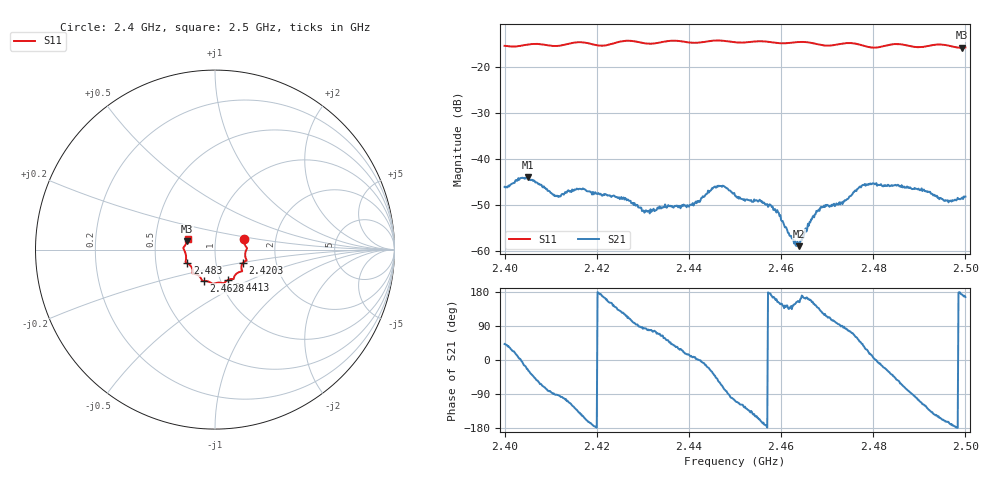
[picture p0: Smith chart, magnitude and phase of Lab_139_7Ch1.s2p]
# Hz S RI R 50
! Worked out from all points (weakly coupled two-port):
!   601 points, 2.4 GHz to 2.5 GHz, reference 50 ohm
!   highest |S21| = -43.82 dB at 2.405 GHz (marker M1); lowest = -58.8 dB at 2.4638 GHz (marker M2)
!   lowest |S11| = -15.8 dB at 2.4992 GHz (marker M3), VSWR 1.39, Z = 36.4 + j3.55 ohm
!   |S11| at or under -10 dB: start of sweep to end of sweep
!   S12 and S22 are empty: the file has one direction only
!   S11 on the Smith chart (normalised r, x): 2.4 GHz: 1.37, +0.16; 2.4203 GHz: 1.35, -0.21; 2.4413 GHz: 1.09, -0.38; 2.4628 GHz: 0.83, -0.30; 2.483 GHz: 0.72, -0.11; 2.5 GHz: 0.73, +0.09
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2.4e9  0.1608 0.0568  0.00372 0.00337  0 0  0 0
2.405e9  0.1755 0.0131  0.00587 -0.00264  0 0  0 0
2.411333e9  0.168 -0.0245  -0.000103 -0.00403  0 0  0 0
2.416667e9  0.176 -0.0615  -0.00381 -0.00282  0 0  0 0
2.420333e9  0.1552 -0.074  -0.00431 0.000194  0 0  0 0
2.426333e9  0.1517 -0.1199  -0.00165 0.00333  0 0  0 0
2.430333e9  0.1297 -0.1275  0.000302 0.00262  0 0  0 0
2.433333e9  0.108 -0.1484  0.00104 0.00282  0 0  0 0
2.441333e9  0.0743 -0.1682  0.00337 0.000448  0 0  0 0
2.446e9  0.0496 -0.1882  0.00334 -0.00368  0 0  0 0
2.45e9  0.0294 -0.184  -0.00118 -0.00386  0 0  0 0
2.458e9  -0.0229 -0.1848  -0.00298 0.00059  0 0  0 0
2.462833e9  -0.0629 -0.1745  -0.00102 0.000665  0 0  0 0
2.463833e9  -0.068 -0.1747  -0.00102 0.000507  0 0  0 0
2.466667e9  -0.0742 -0.1675  -0.00199 0.00101  0 0  0 0
2.469e9  -0.0846 -0.1511  -0.00169 0.00253  0 0  0 0
2.477667e9  -0.1244 -0.1191  0.00389 0.00354  0 0  0 0
2.483e9  -0.1547 -0.0766  0.00456 -0.00234  0 0  0 0
2.483333e9  -0.1571 -0.0756  0.00453 -0.00271  0 0  0 0
2.495833e9  -0.1727 0.0155  -0.00339 -0.00109  0 0  0 0
2.499167e9  -0.1552 0.0474  -0.00372 0.00045  0 0  0 0
2.5e9  -0.1529 0.0588  -0.00383 0.00095  0 0  0 0
